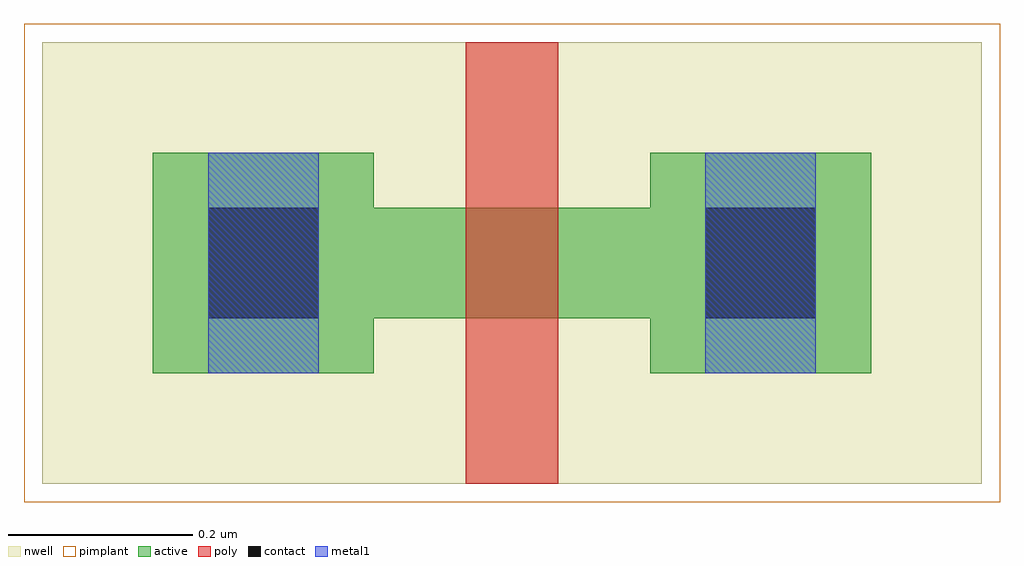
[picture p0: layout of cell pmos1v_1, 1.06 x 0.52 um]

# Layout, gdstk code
import gdstk
lib = gdstk.Library(unit=1e-6, precision=1e-09)
def R(c, l, rs):  # rectangles x0, y0, x1, y1
    for r in rs: c.add(gdstk.rectangle(r[:2], r[2:], *l))
def A(c, l, x, y, w, h, nx, ny, dx, dy):  # array of equal rectangles
    R(c, l, [(x+i*dx, y+j*dy, x+i*dx+w, y+j*dy+h) for i in range(nx) for j in range(ny)])
active = (1, 0)
nwell = (2, 0)
poly = (3, 0)
pimplant = (5, 0)
contact = (6, 0)
metal1 = (7, 0)

pmos1v_1 = lib.new_cell('pmos1v_1')
A(pmos1v_1, active, -0.1, 0, 0.1, 0.12, 3, 1, 0.1, 0)
R(pmos1v_1, active, [(-0.34,-0.06,-0.1,0.18), (0.2,-0.06,0.44,0.18)])
R(pmos1v_1, nwell, [(-0.46,-0.18,0.56,0.3)])
R(pmos1v_1, poly, [(0,-0.18,0.1,-0.16), (0,-0.16,0.1,0), (0,0,0.1,0.12), (0,0.12,0.1,0.28), (0,0.28,0.1,0.3)])
R(pmos1v_1, pimplant, [(-0.48,-0.2,0.58,0.32), (-0.18,-0.18,0.28,0.3)])
R(pmos1v_1, contact, [(-0.28,0,-0.16,0.12), (0.26,0,0.38,0.12)])
R(pmos1v_1, metal1, [(-0.28,-0.06,-0.16,0.18), (0.26,-0.06,0.38,0.18)])

lib.write_gds('pmos1v_1.gds')
